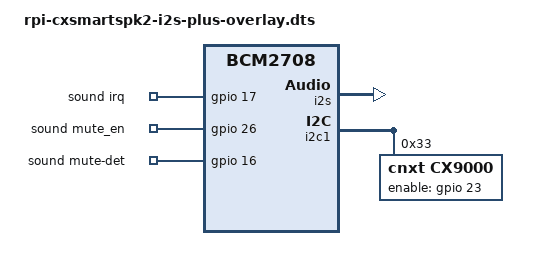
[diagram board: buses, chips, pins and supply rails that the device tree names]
// Definitions for audioinjector.net audio add on soundcard
/dts-v1/;
/plugin/;

/ {
	compatible = "brcm,bcm2708";

	fragment@0 {
		target = <&i2s>;
		__overlay__ {
			status = "okay";
		};
	};

	fragment@1 {
		target = <&i2c1>;
		__overlay__ {
			#address-cells = <1>;
			#size-cells = <0>;
			status = "okay";

			cx9000: cx9000@33{
				#sound-dai-cells = <1>;
				compatible = "cnxt,cx9000";
				reg = <0x33>;
				pinctrl-names = "default";
				pinctrl-0 = <&enable_pins>;
				enable-gpios = <&gpio 23 0>;
				status = "okay";
			};
		};
	};

	fragment@2 {
		target = <&sound>;
		__overlay__ {
			compatible = "simple-audio-card-plus";
			pinctrl-names = "default", "mute";
			pinctrl-0 = <&irq_pins>;
			pinctrl-1 = <&mute_en_pins>;
			irq-gpios = <&gpio 17 0>;
			mute_en-gpios = <&gpio 26 0>;
			simple-audio-card,name = "smartspk-cx9000";
			simple-audio-card,mute-det-gpio = <&gpio 16 0>;
			status = "okay";
			/* I2S1 - cx9000-DSP */
			simple-audio-card,dai-link@0 {
				/*
				 * format support:
				 * i2s, left_j, right_j, dsp_a, dsp_b
				 */
				format = "i2s";
				bitclock-master = <&dailink0_master>;
				frame-master = <&dailink0_master>;
				/*
				 * bclk and fsync iversion support:
				 * bitclock-inversion;
				 * frame-inversion;
				 */
				/*
				 * Frame size support:
				 * BCLK = sample rate * bclk-ratio
				 */
				bclk-ratio = <64>;
				cpu {
					sound-dai = <&i2s>;
				};
				dailink0_master: codec {
					sound-dai = <&cx9000 0>;
					/*
					 * MCLK (system clock) support:
					 * system-clock-frequency = <12288000>;
					 * system-clock-direction = "in";
					 */
				};
				plat {
					sound-dai = <&i2s>;
				};
			};
		};
	};

	fragment@3 {
		target = <&gpio>;
		__overlay__ {
			irq_pins: irq_pins {
				brcm,pins = <17>; /* pin-11 */
				brcm,function = <0>; /* in */
				brcm,pull = <2>; /* upe */
			};
		};
	};

	fragment@4 {
		target = <&gpio>;
		__overlay__ {
			enable_pins: enable_pins {
				brcm,pins = <23>; /* pin-16 */
				brcm,function = <1>; /* out */
				brcm,pull = <1>; /* pu_down */
			};
		};
	};

	fragment@5 {
		target = <&gpio>;
		__overlay__ {
			mute_pins: mute_pins {
				brcm,pins = <16>; /* pin-36 */
				brcm,function = <0>; /* in */
				brcm,pull = <1>; /* pu_down */
			};
		};
	};

	fragment@6 {
		target = <&gpio>;
		__overlay__ {
			mute_en_pins: mute_en_pins {
				brcm,pins = <26>; /* pin-37 */
				brcm,function = <1>; /* out */
				brcm,pull = <1>; /* pu_down */
			};
		};
	};

};
